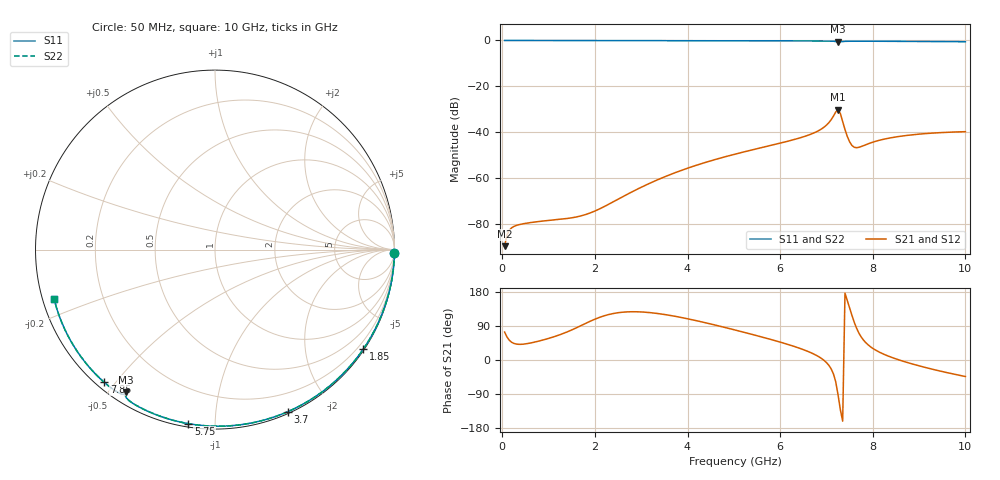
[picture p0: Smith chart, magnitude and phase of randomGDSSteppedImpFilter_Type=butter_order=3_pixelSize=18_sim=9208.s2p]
! freq	dB(S11)	phase(S11)	dB(S12)	phase(S12)
!  dB(S21)	phase(S21)	dB(S22)	phase(S22)
!S-par simulation data
#  GHz  S  DB  R 50
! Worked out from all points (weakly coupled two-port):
!   200 points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, 50 MHz to 10 GHz, reference 50 ohm
!   highest |S21| = -30.23 dB at 7.25 GHz (marker M1); lowest = -89.8 dB at 50 MHz (marker M2)
!   lowest |S11| = -0.6 dB at 7.25 GHz (marker M3), VSWR 30.76, Z = 2.12 - j27.7 ohm
!   |S11| at or under -10 dB: nowhere
!   |S22| runs from -0.6 to 0.0 dB; largest |S21 - S12| = 0
!   S11 on the Smith chart (normalised r, x): 50 MHz: open; 1.85 GHz: 0.03, -3.29; 3.7 GHz: 0.02, -1.55; 5.75 GHz: 0.02, -0.86; 7.85 GHz: 0.02, -0.47; 10 GHz: 0.03, -0.15
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0.05  -0.00 -0.9  -89.76 73.7  -89.76 73.7  -0.00 -0.9
0.45  -0.01 -8.4  -79.98 41.8  -79.98 41.8  -0.01 -8.4
1.45  -0.03 -26.6  -77.54 76.6  -77.54 76.6  -0.03 -26.6
1.75  -0.04 -32.0  -76.27 93.7  -76.27 93.7  -0.04 -32.0
1.85  -0.04 -33.8  -75.62 99.5  -75.62 99.5  -0.04 -33.8
2.65  -0.06 -47.9  -67.65 126.7  -67.65 126.7  -0.06 -47.9
3.4  -0.08 -60.7  -60.39 121.9  -60.39 121.9  -0.08 -60.7
3.7  -0.09 -65.8  -57.95 116.0  -57.95 116.0  -0.09 -65.8
4.35  -0.11 -76.5  -53.44 99.4  -53.44 99.4  -0.11 -76.5
5.05  -0.13 -87.7  -49.48 78.4  -49.48 78.4  -0.13 -87.7
5.75  -0.17 -98.7  -46.03 55.9  -46.03 55.9  -0.17 -98.7
6.7  -0.22 -113.3  -40.61 17.3  -40.61 17.3  -0.22 -113.3
7  -0.25 -118.1  -36.94 -6.8  -36.94 -6.8  -0.25 -118.1
7.25  -0.56 -122.0  -30.23 -91.6  -30.23 -91.6  -0.56 -122.0
7.3  -0.55 -121.5  -31.90 -131.2  -31.90 -131.2  -0.55 -121.5
7.45  -0.35 -123.5  -41.88 156.7  -41.88 156.7  -0.35 -123.5
7.55  -0.33 -125.2  -45.82 117.9  -45.82 117.9  -0.33 -125.2
7.65  -0.32 -126.8  -46.79 84.0  -46.79 84.0  -0.32 -126.8
7.85  -0.33 -129.9  -45.48 45.6  -45.48 45.6  -0.33 -129.9
8.35  -0.37 -137.5  -42.63 9.6  -42.63 9.6  -0.37 -137.5
9.05  -0.44 -148.1  -40.79 -17.0  -40.79 -17.0  -0.44 -148.1
10  -0.56 -162.9  -39.80 -43.5  -39.80 -43.5  -0.56 -162.9
